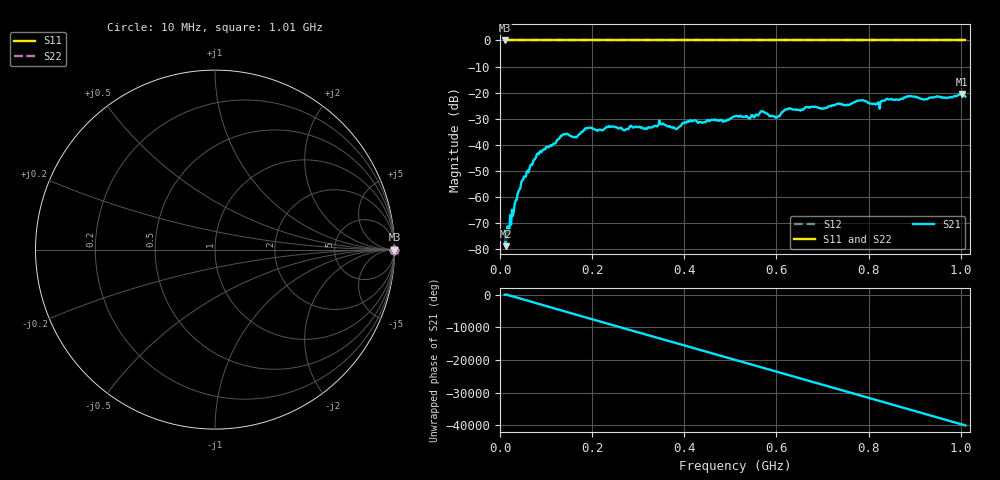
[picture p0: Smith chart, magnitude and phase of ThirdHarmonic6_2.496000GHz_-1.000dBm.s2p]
! 8/17/2025 4:45:28 AM
! C:\ANRITSUVNA\TEMP\TEMP.S2P
! CHANNEL.1
! TR.MEASUREMENT
! RAW.DATA
! RF.CORRECTION.OFF
! AVERAGING.OFF
! IF.BANDWIDTH: 5KHZ
! SWEEPTYPE:  FREQ.SWEEP(Linear)
! Reference Plane Port Info
! PORT:  PORT1  PORT2
! DISTANCE:  0  m  0  m
! TIME:  0  s  0  s
! PHASE.OFFSET:  0  deg.  0  deg.
! LOSS:  0  dB  0  dB
! REF.LOSS:  0  dB  0  dB
! REF.FREQ:  0  Hz  0  Hz
! Power Info
! POWER:  -20  dBm  -20  dBm
! EFF.POWER:  -20  dBm  -20  dBm
! SOURCE.ATTEN:  0  dB  0  dB
! TEST.ATTEN:  0  dB  0  dB
# GHZ S RI R 50.0
! FREQ.GHZ  S11RE  S11IM  S21RE  S21IM  S12RE  S12IM  S22RE  S22IM
!; PortSelection: Port_12
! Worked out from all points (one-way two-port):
!   501 points, 10 MHz to 1.01 GHz, reference 50 ohm
!   highest |S21| = -20.52 dB at 1.002 GHz (marker M1); lowest = -79.0 dB at 12 MHz (marker M2)
!   lowest |S11| = 0.0 dB at 10 MHz (marker M3)
!   |S11| at or under -10 dB: nowhere
!   |S22| runs from 0.0 to 0.0 dB; largest |S21 - S12| = 1.1
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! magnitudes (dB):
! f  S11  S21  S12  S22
! 10 MHz  0.0  -73.0  0.0  0.0
! 12 MHz  0.0  -79.0  0.0  0.0
! 16 MHz  0.0  -71.4  0.0  0.0
! 36 MHz  0.0  -61.2  0.0  0.0
! 50 MHz  0.0  -53.5  0.0  0.0
! 84 MHz  0.0  -43.7  0.0  0.0
! 136 MHz  0.0  -36.3  0.0  0.0
! 164 MHz  0.0  -37.2  0.0  0.0
! 178 MHz  0.0  -35.1  0.0  0.0
! 344 MHz  0.0  -32.5  0.0  0.0
! 382 MHz  0.0  -34.0  0.0  0.0
! 410 MHz  0.0  -31.2  0.0  0.0
! 510 MHz  0.0  -29.1  0.0  0.0
! 570 MHz  0.0  -27.1  0.0  0.0
! 602 MHz  0.0  -29.3  0.0  0.0
! 622 MHz  0.0  -26.4  0.0  0.0
! 678 MHz  0.0  -25.5  0.0  0.0
! 784 MHz  0.0  -23.0  0.0  0.0
! 820 MHz  0.0  -23.8  0.0  0.0
! 844 MHz  0.0  -22.7  0.0  0.0
! 1.002 GHz  0.0  -20.5  0.0  0.0
! 1.01 GHz  0.0  -21.5  0.0  0.0
